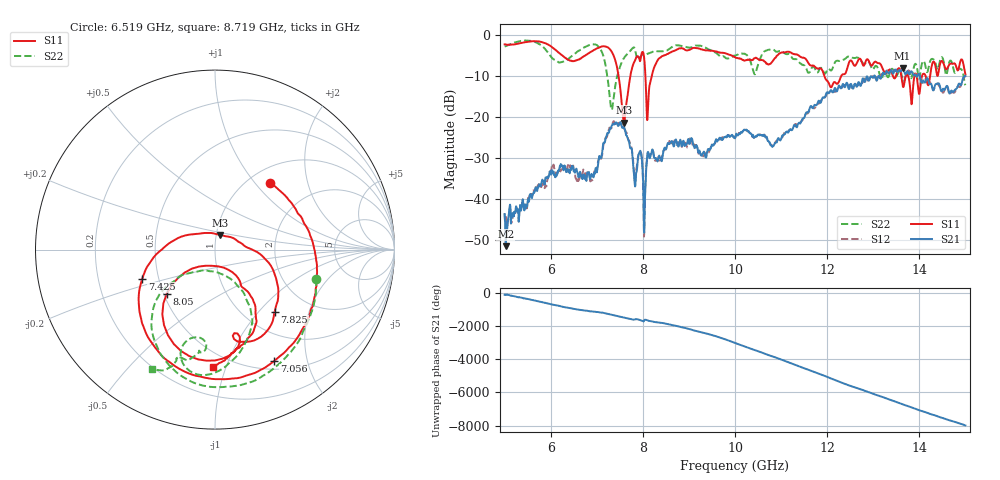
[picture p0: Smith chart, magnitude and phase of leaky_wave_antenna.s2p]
!Agilent Technologies,E8363B,MY43030246,A.04.87.01
!Agilent E8363B: A.04.87.01
!Date: Friday, May 02, 2025 12:00:08
!Correction: S11(Full 2 Port SOLT,1,2) S21(Full 2 Port SOLT,1,2) S12(Full 2 Port SOLT,1,2) S22(Full 2 Port SOLT,1,2)
!S2P File: Measurements: S11, S21, S12, S22:
# Hz S  RI  R 50
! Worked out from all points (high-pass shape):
!   1601 points, 5 GHz to 15 GHz, reference 50 ohm
!   highest |S21| = -8.11 dB at 13.64 GHz (marker M1); lowest = -51.4 dB at 5.025 GHz (marker M2)
!   |S21| within 3 dB of the highest: 12.91 GHz to 13.07 GHz (158.7 MHz wide, 1.22 % of centre); 13.08 GHz to 14.03 GHz (954.8 MHz wide, 7.04 % of centre)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
!   lowest |S11| = -21.3 dB at 7.594 GHz (marker M3), VSWR 1.19, Z = 52 + j8.53 ohm
!   |S11| at or under -10 dB: 7.473 GHz to 7.728 GHz (255.5 MHz wide, 3.36 % of centre); 8.056 GHz to 8.192 GHz (136.4 MHz wide, 1.68 % of centre); 11.94 GHz to 12.31 GHz (367.6 MHz wide, 3.03 % of centre)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
!   |S22| runs from -18.3 to -1.4 dB; largest |S21 - S12| = 0.04
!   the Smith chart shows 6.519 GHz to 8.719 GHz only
!   S11 on the Smith chart (normalised r, x): 6.519 GHz: 1.24, +1.20; 7.056 GHz: 0.61, -1.49; 7.425 GHz: 0.40, -0.16; 7.825 GHz: 1.36, -1.23; 8.05 GHz: 0.52, -0.29; 8.719 GHz: 0.40, -0.90
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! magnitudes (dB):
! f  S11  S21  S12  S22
! 5 GHz  -2.3  -43.6  -43.4  -2.8
! 5.025 GHz  -2.3  -51.4  -48.5  -2.8
! 6.025 GHz  -3.0  -32.9  -31.9  -5.6
! 6.519 GHz  -6.3  -33.2  -33.0  -4.6
! 6.669 GHz  -5.6  -34.7  -34.2  -3.5
! 7.056 GHz  -3.1  -29.5  -29.7  -3.1
! 7.312 GHz  -3.9  -22.5  -22.8  -18.0
! 7.425 GHz  -7.2  -21.4  -22.1  -11.0
! 7.594 GHz  -21.3  -22.5  -22.7  -5.6
! 7.825 GHz  -6.4  -36.4  -35.7  -3.4
! 7.938 GHz  -6.4  -28.4  -28.7  -5.5
! 8.05 GHz  -8.8  -38.5  -37.8  -4.8
! 8.119 GHz  -16.0  -28.6  -29.2  -4.5
! 8.338 GHz  -5.9  -30.2  -29.7  -4.0
! 8.719 GHz  -3.7  -25.5  -26.3  -2.5
! 10 GHz  -5.4  -25.2  -25.1  -5.0
! 10.82 GHz  -6.3  -27.0  -26.9  -3.6
! 11.67 GHz  -7.5  -17.7  -17.5  -7.9
! 13.34 GHz  -8.6  -9.4  -9.1  -10.1
! 13.64 GHz  -12.2  -8.1  -8.0  -10.8
! 14.49 GHz  -6.3  -13.6  -13.5  -5.4
! 15 GHz  -9.6  -10.0  -10.1  -12.2
